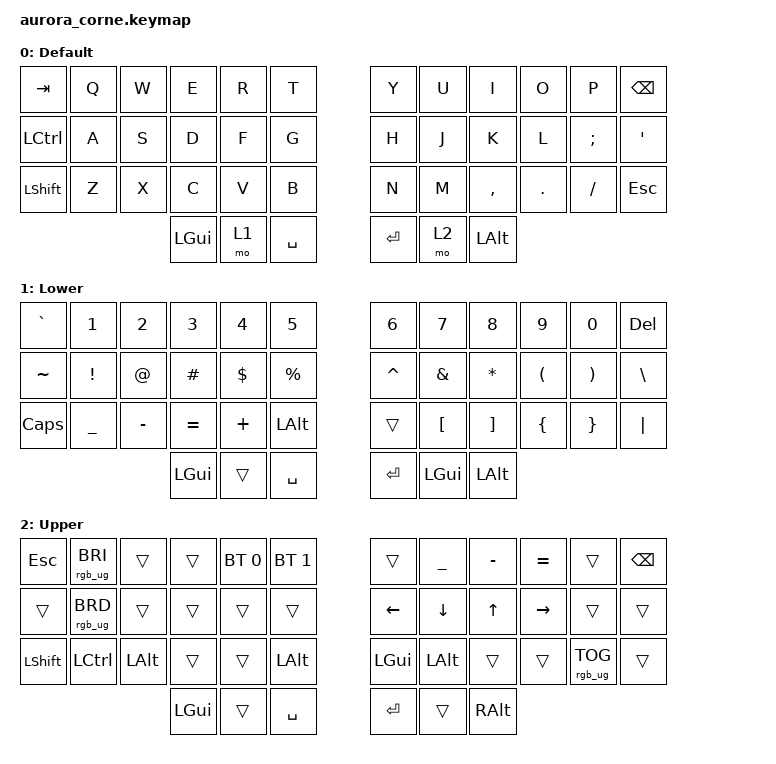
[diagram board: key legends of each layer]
/*
 * Copyright (c) 2020 The ZMK Contributors
 *
 * SPDX-License-Identifier: MIT
 */

#include <behaviors.dtsi>
#include <dt-bindings/zmk/keys.h>
#include <dt-bindings/zmk/bt.h>
#include <dt-bindings/zmk/rgb.h>
#include <dt-bindings/zmk/backlight.h>
#include <dt-bindings/zmk/ext_power.h>

// #include "mouse.dtsi"
/* Homerow mods */

#define KEYS_L 0 1 2 3 4 5 12 13 14 15 16 17 24 25 26 27 28 29    // left hand
#define KEYS_R 6 7 8 9 10 11 18 19 20 21 22 23 30 31 32 33 34 35  // right hand
#define THUMBS 36 37 38 39 40 41                                  // thumbs

/ {

/****************************************
* Behaviors
****************************************/

    behaviors {
        hml: home_row_mod_left {
            compatible = "zmk,behavior-hold-tap";
            #binding-cells = <2>;
            flavor = "balanced";
            tapping-term-ms = <280>;
            quick-tap-ms = <175>;
            require-prior-idle-ms = <150>;
            bindings = <&kp>, <&kp>;

            hold-trigger-key-positions = <KEYS_R THUMBS>;
            hold-trigger-on-release;
        };

        hmr: home_row_mod_right {
            compatible = "zmk,behavior-hold-tap";
            #binding-cells = <2>;
            flavor = "balanced";
            tapping-term-ms = <280>;
            quick-tap-ms = <175>;
            require-prior-idle-ms = <150>;
            bindings = <&kp>, <&kp>;

            hold-trigger-key-positions = <KEYS_L THUMBS>;
            hold-trigger-on-release;
        };
    };

/****************************************
* LED Lighting
****************************************/

/*
  todo
*/

/****************************************
* Combos
****************************************/

    combos {
        compatible = "zmk,combos";

        bt_clear_combo {
            timeout-ms = <50>;
            key-positions = <40 24 35 12 11>; // Upper + "|" + "~" + ESC + DEL
            bindings = <&bt BT_CLR>;
        };
    };

/****************************************
* Map keys to layers
****************************************/

        keymap {
                compatible = "zmk,keymap";

                /********************************
                * Layer: Default (&mo 0)
                ********************************/
                default_layer {
                  display-name = "Default";
                  bindings = <
// [                                              LEFT                                        ]        [                                         RIGHT                                        ]
// ┌─────────────┬──────────────────┬──────────────┬──────────────┬─────────────┬─────────────┐        ┌─────────────┬─────────────┬──────────────┬──────────────┬───────────────┬────────────┐
// ⎮    TAB      |        Q         |      W       |      E       |      R      |      T      |        |      Y      |      U      |      I       |      O       |       P       |   BSPC ⌫   |
      &kp TAB           &kp Q            &kp W          &kp E          &kp R         &kp T                  &kp Y         &kp U         &kp I          &kp O           &kp P        &kp BSPC
// ├─────────────┼──────────────────┼──────────────┼──────────────┼─────────────┼─────────────┤        ├─────────────┼─────────────┼──────────────┼──────────────┼───────────────┼────────────┤
// |  CTRL (⌃)   |        A         |      S       |      D       |      F      |      G      |        |      H      |      J      |      K       |      L       |       ;       |     '      |
      &kp LCTRL         &kp A            &kp S          &kp D          &kp F         &kp G                  &kp H         &kp J         &kp K          &kp L         &kp SEMI        &kp SQT
// ├─────────────┼──────────────────┼──────────────┼──────────────┼─────────────┼─────────────┤        ├─────────────┼─────────────┼──────────────┼──────────────┼───────────────┼────────────┤
// |    SHFT     |        Z         |      X       |      C       |      V      |      B      |        |      N      |      M      |      ,       |      .       |       /       |     ESC    |
      &kp LSHFT         &kp Z            &kp X          &kp C          &kp V         &kp B                  &kp N         &kp M        &kp COMMA      &kp DOT        &kp FSLH        &kp ESC
// └─────────────┴──────────────────┴──────────────┼──────────────┬─────────────┬─────────────┤        ├─────────────┬─────────────┬──────────────┬──────────────┴───────────────┴────────────┘
//                                                 |   GUI (⌘)    |    LOWER    |     SPC     |        |     ENT     |    RAISE    |    OPT (⌥)   |
                                                     &kp LGUI         &mo 1       &kp SPACE                &kp RET        &mo 2        &kp LALT
//                                                 └──────────────┴─────────────┴─────────────┘        └─────────────┴─────────────┴──────────────┘
                  >;
                };

                /********************************
                * Layer: Lower (&mo 1)
                ********************************/
                lower_layer {
                  display-name = "Lower";
                  bindings = <
// ┌─────────────┬──────────────────┬──────────────┬──────────────┬─────────────┬─────────────┐        ┌─────────────┬─────────────┬──────────────┬──────────────┬───────────────┬────────────┐
// |      `      |        1         |      2       |      3       |     4       |      5      |        |      6      |      7      |      8       |      9       |       0       |   DEL ⌦    |
      &kp GRAVE         &kp N1           &kp N2         &kp N3        &kp N4         &kp N5                &kp N6        &kp N7        &kp N8          &kp N9          &kp N0        &kp DEL
// ├─────────────┼──────────────────┼──────────────┼──────────────┼─────────────┼─────────────┤        ├─────────────┼─────────────┼──────────────┼──────────────┼───────────────┼────────────┤
// |      ~      |        !         |      @       |      #       |     $       |      %      |        |      ^      |      &      |      *       |      (       |       )       |     \      |
      &kp TILDE        &kp EXCL         &kp AT         &kp HASH      &kp DLLR      &kp PRCNT              &kp CARET      &kp AMPS     &kp ASTRK       &kp LPAR        &kp RPAR       &kp BSLH
// ├─────────────┼──────────────────┼──────────────┼──────────────┼─────────────┼─────────────┤        ├─────────────┼─────────────┼──────────────┼──────────────┼───────────────┼────────────┤
// |  CAPS LOCK  |        _         |      -       |      =       |     +       |   OPT (⌥)   |        |             |      [      |      ]       |      {       |       }       |    "|"     |
      &kp CAPS         &kp UNDER        &kp MINUS      &kp EQUAL     &kp PLUS      &kp LALT                 &trans       &kp LBKT      &kp RBKT       &kp LBRC        &kp RBRC       &kp PIPE
// └─────────────┴──────────────────┴──────────────┼──────────────┬─────────────┬─────────────┤        ├─────────────┬─────────────┬──────────────┬──────────────┴───────────────┴────────────┘
//                                                 |   GUI (⌘)    |#############|     SPC     |        |     ENT     |   GUI (⌘)   |    OPT (⌥)   |
                                                       &kp LGUI       &trans       &kp SPACE               &kp RET       &kp LGUI      &kp LALT
//                                                 └──────────────┴─────────────┴─────────────┘        └─────────────┴─────────────┴──────────────┘
                  >;
                };

                /********************************
                * Layer: Upper (&mo 2)
                ********************************/
                raise_layer {
                  display-name = "Upper";
                  bindings = <
// ┌─────────────┬──────────────────┬──────────────┬──────────────┬─────────────┬─────────────┐        ┌─────────────┬─────────────┬──────────────┬──────────────┬───────────────┬─────────────┐
// |    ESC      |   Underqglow +   |              |              |    BT 1     |    BT 2     |        |             |      _      |      -       |      =       |               |    BSPC ⌫   |
       &kp ESC     &rgb_ug RGB_BRI       &trans         &trans     &bt BT_SEL 0  &bt BT_SEL 1              &trans       &kp UNDER     &kp MINUS      &kp EQUAL        &trans         &kp BSPC
// ├─────────────┼──────────────────┼──────────────┼──────────────┼─────────────┼─────────────┤        ├─────────────┼─────────────┼──────────────┼──────────────┼───────────────┼─────────────┤
// |             |   Underglow -    |              |              |             |             |        |      ←      |      ↓      |       ↑      |      →       |               |             |
       &trans      &rgb_ug RGB_BRD       &trans         &trans        &trans        &trans                &kp LEFT      &kp DOWN        &kp UP       &kp RIGHT        &trans         &trans
// ├─────────────┼──────────────────┼──────────────┼──────────────┼─────────────┼─────────────┤        ├─────────────┼─────────────┼──────────────┼──────────────┼───────────────┼─────────────┤
// |    SHFT     |     CTRL (^)     |   OPT (⌥)    |              |             |   OPT (⌥)   |        |    GUI (⌘)  |   OPT (⌥)   |              |              |   Underglow   |             |
      &kp LSHFT        &kp LCTRL        &kp LALT        &trans        &trans        &kp LALT               &kp LGUI     &kp LALT        &trans         &trans     &rgb_ug RGB_TOG    &trans
// └─────────────┴──────────────────┴──────────────┼──────────────┬─────────────┬─────────────┤        ├─────────────┬─────────────┬──────────────┬──────────────┴───────────────┴─────────────┘
//                                                 |   GUI (⌘)    |             |     SPC     |        |      ENT    |#############|    OPT (⌥)   |
                                                       &kp LGUI       &trans       &kp SPACE                &kp RET      &trans        &kp RALT
//                                                 └──────────────┴─────────────┴─────────────┘        └─────────────┴─────────────┴──────────────┘
                  >;
                };
        };
        // End layers
};
